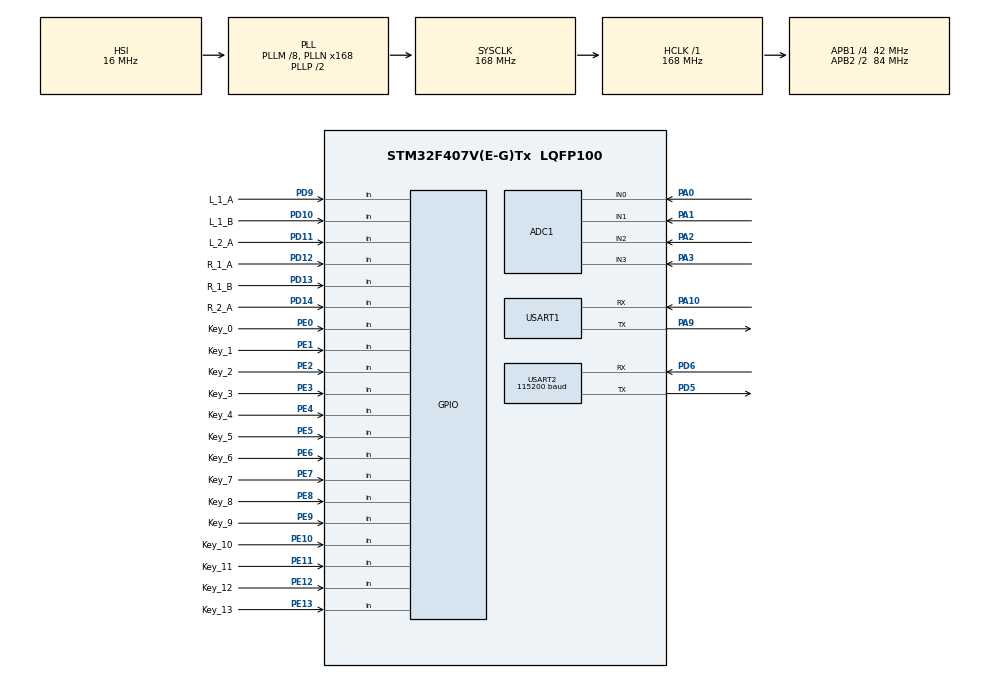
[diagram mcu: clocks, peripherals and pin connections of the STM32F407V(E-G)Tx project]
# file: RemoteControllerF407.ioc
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ADC1.Channel-0\#ChannelRegularConversion=ADC_CHANNEL_0
ADC1.Channel-1\#ChannelRegularConversion=ADC_CHANNEL_1
ADC1.Channel-2\#ChannelRegularConversion=ADC_CHANNEL_2
ADC1.Channel-3\#ChannelRegularConversion=ADC_CHANNEL_3
ADC1.ContinuousConvMode=DISABLE
ADC1.DMAContinuousRequests=ENABLE
ADC1.NbrOfConversion=4
ADC1.NbrOfConversionFlag=1
ADC1.Rank-0\#ChannelRegularConversion=1
ADC1.Rank-1\#ChannelRegularConversion=2
ADC1.Rank-2\#ChannelRegularConversion=3
ADC1.Rank-3\#ChannelRegularConversion=4
ADC1.SamplingTime-0\#ChannelRegularConversion=ADC_SAMPLETIME_15CYCLES
ADC1.SamplingTime-1\#ChannelRegularConversion=ADC_SAMPLETIME_15CYCLES
ADC1.SamplingTime-2\#ChannelRegularConversion=ADC_SAMPLETIME_15CYCLES
ADC1.SamplingTime-3\#ChannelRegularConversion=ADC_SAMPLETIME_15CYCLES
ADC1.master=1
Dma.ADC1.0.Direction=DMA_PERIPH_TO_MEMORY
Dma.ADC1.0.FIFOMode=DMA_FIFOMODE_DISABLE
Dma.ADC1.0.Instance=DMA2_Stream0
Dma.ADC1.0.MemDataAlignment=DMA_MDATAALIGN_HALFWORD
Dma.ADC1.0.MemInc=DMA_MINC_ENABLE
Dma.ADC1.0.Mode=DMA_CIRCULAR
Dma.ADC1.0.PeriphDataAlignment=DMA_PDATAALIGN_HALFWORD
Dma.ADC1.0.PeriphInc=DMA_PINC_DISABLE
Dma.ADC1.0.Priority=DMA_PRIORITY_LOW
Dma.Request0=ADC1
Dma.Request1=USART1_TX
Dma.Request2=USART2_RX
Dma.Request3=USART2_TX
Dma.Request4=USART1_RX
Dma.USART1_RX.4.Direction=DMA_PERIPH_TO_MEMORY
Dma.USART1_RX.4.FIFOMode=DMA_FIFOMODE_DISABLE
Dma.USART1_RX.4.Instance=DMA2_Stream2
Dma.USART1_RX.4.MemDataAlignment=DMA_MDATAALIGN_BYTE
Dma.USART1_RX.4.MemInc=DMA_MINC_ENABLE
Dma.USART1_RX.4.Mode=DMA_NORMAL
Dma.USART1_RX.4.PeriphDataAlignment=DMA_PDATAALIGN_BYTE
Dma.USART1_RX.4.PeriphInc=DMA_PINC_DISABLE
Dma.USART1_RX.4.Priority=DMA_PRIORITY_LOW
Dma.USART1_TX.1.Direction=DMA_MEMORY_TO_PERIPH
Dma.USART1_TX.1.FIFOMode=DMA_FIFOMODE_DISABLE
Dma.USART1_TX.1.Instance=DMA2_Stream7
Dma.USART1_TX.1.MemDataAlignment=DMA_MDATAALIGN_BYTE
Dma.USART1_TX.1.MemInc=DMA_MINC_ENABLE
Dma.USART1_TX.1.Mode=DMA_NORMAL
Dma.USART1_TX.1.PeriphDataAlignment=DMA_PDATAALIGN_BYTE
Dma.USART1_TX.1.PeriphInc=DMA_PINC_DISABLE
Dma.USART1_TX.1.Priority=DMA_PRIORITY_LOW
Dma.USART2_RX.2.Direction=DMA_PERIPH_TO_MEMORY
Dma.USART2_RX.2.FIFOMode=DMA_FIFOMODE_DISABLE
Dma.USART2_RX.2.Instance=DMA1_Stream5
Dma.USART2_RX.2.MemDataAlignment=DMA_MDATAALIGN_BYTE
Dma.USART2_RX.2.MemInc=DMA_MINC_ENABLE
Dma.USART2_RX.2.Mode=DMA_NORMAL
Dma.USART2_RX.2.PeriphDataAlignment=DMA_PDATAALIGN_BYTE
Dma.USART2_RX.2.PeriphInc=DMA_PINC_DISABLE
Dma.USART2_RX.2.Priority=DMA_PRIORITY_LOW
Dma.USART2_TX.3.Direction=DMA_MEMORY_TO_PERIPH
Dma.USART2_TX.3.FIFOMode=DMA_FIFOMODE_DISABLE
Dma.USART2_TX.3.Instance=DMA1_Stream6
Dma.USART2_TX.3.MemDataAlignment=DMA_MDATAALIGN_BYTE
Dma.USART2_TX.3.MemInc=DMA_MINC_ENABLE
Dma.USART2_TX.3.Mode=DMA_NORMAL
Dma.USART2_TX.3.PeriphDataAlignment=DMA_PDATAALIGN_BYTE
Dma.USART2_TX.3.PeriphInc=DMA_PINC_DISABLE
Dma.USART2_TX.3.Priority=DMA_PRIORITY_LOW
FREERTOS.Tasks01=defaultTask,24,128,StartDefaultTask,Default,NULL,Dynamic,NULL,NULL;adc_read,8,128,adc_read_Task,Default,NULL,Dynamic,NULL,NULL;uart_1_send,8,128,uart_1_send_Task,Default,NULL,Dynamic,NULL,NULL
Mcu.Family=STM32F4
Mcu.Name=STM32F407V(E-G)Tx
Mcu.Package=LQFP100
NVIC.DMA1_Stream5_IRQn=true\:5\:0\:false\:false\:true\:true\:false\:true\:true
NVIC.DMA1_Stream6_IRQn=true\:5\:0\:false\:false\:true\:true\:false\:true\:true
NVIC.DMA2_Stream0_IRQn=true\:5\:0\:false\:false\:true\:true\:false\:true\:true
NVIC.DMA2_Stream2_IRQn=true\:5\:0\:false\:false\:true\:true\:false\:true\:true
NVIC.DMA2_Stream7_IRQn=true\:5\:0\:false\:false\:true\:true\:false\:true\:true
NVIC.PriorityGroup=NVIC_PRIORITYGROUP_4
NVIC.TIM6_DAC_IRQn=true\:15\:0\:false\:false\:true\:false\:false\:true\:true
NVIC.TimeBase=TIM6_DAC_IRQn
NVIC.TimeBaseIP=TIM6
NVIC.USART1_IRQn=true\:5\:0\:false\:false\:true\:true\:true\:true\:true
NVIC.USART2_IRQn=true\:5\:0\:false\:false\:true\:true\:true\:true\:true
PA0-WKUP.Signal=ADCx_IN0
PA1.Signal=ADCx_IN1
PA10.Mode=Asynchronous
PA10.Signal=USART1_RX
PA13.Mode=Serial_Wire
PA13.Signal=SYS_JTMS-SWDIO
PA14.Mode=Serial_Wire
PA14.Signal=SYS_JTCK-SWCLK
PA2.Signal=ADCx_IN2
PA3.Signal=ADCx_IN3
PA9.Mode=Asynchronous
PA9.Signal=USART1_TX
PD10.GPIO_Label=L_1_B
PD10.GPIO_PuPd=GPIO_NOPULL
PD10.Signal=GPIO_Input
PD11.GPIO_Label=L_2_A
PD11.GPIO_PuPd=GPIO_NOPULL
PD11.Signal=GPIO_Input
PD12.GPIO_Label=R_1_A
PD12.GPIO_PuPd=GPIO_NOPULL
PD12.Signal=GPIO_Input
PD13.GPIO_Label=R_1_B
PD13.GPIO_PuPd=GPIO_NOPULL
PD13.Signal=GPIO_Input
PD14.GPIO_Label=R_2_A
PD14.GPIO_PuPd=GPIO_NOPULL
PD14.Signal=GPIO_Input
PD5.Mode=Asynchronous
PD5.Signal=USART2_TX
PD6.Mode=Asynchronous
PD6.Signal=USART2_RX
PD9.GPIO_Label=L_1_A
PD9.GPIO_PuPd=GPIO_NOPULL
PD9.Signal=GPIO_Input
PE0.GPIO_Label=Key_0
PE0.Signal=GPIO_Input
PE1.GPIO_Label=Key_1
PE1.Signal=GPIO_Input
PE10.GPIO_Label=Key_10
PE10.Signal=GPIO_Input
PE11.GPIO_Label=Key_11
PE11.Signal=GPIO_Input
PE12.GPIO_Label=Key_12
PE12.Signal=GPIO_Input
PE13.GPIO_Label=Key_13
PE13.Signal=GPIO_Input
PE2.GPIO_Label=Key_2
PE2.Signal=GPIO_Input
PE3.GPIO_Label=Key_3
PE3.Signal=GPIO_Input
PE4.GPIO_Label=Key_4
PE4.Signal=GPIO_Input
PE5.GPIO_Label=Key_5
PE5.Signal=GPIO_Input
PE6.GPIO_Label=Key_6
PE6.Signal=GPIO_Input
PE7.GPIO_Label=Key_7
PE7.Signal=GPIO_Input
PE8.GPIO_Label=Key_8
PE8.Signal=GPIO_Input
PE9.GPIO_Label=Key_9
PE9.Signal=GPIO_Input
PH0-OSC_IN.Mode=HSE-External-Oscillator
PH0-OSC_IN.Signal=RCC_OSC_IN
PH1-OSC_OUT.Mode=HSE-External-Oscillator
PH1-OSC_OUT.Signal=RCC_OSC_OUT
ProjectManager.HeapSize=0x200
ProjectManager.StackSize=0x400
ProjectManager.TargetToolchain=MDK-ARM V5.32
RCC.48MHZClocksFreq_Value=84000000
RCC.AHBFreq_Value=168000000
RCC.APB1CLKDivider=RCC_HCLK_DIV4
RCC.APB1Freq_Value=42000000
RCC.APB1TimFreq_Value=84000000
RCC.APB2CLKDivider=RCC_HCLK_DIV2
RCC.APB2Freq_Value=84000000
RCC.APB2TimFreq_Value=168000000
RCC.CortexFreq_Value=168000000
RCC.HCLKFreq_Value=168000000
RCC.HSE_VALUE=8000000
RCC.HSI_VALUE=16000000
RCC.LSE_VALUE=32768
RCC.PLLM=8
RCC.PLLN=168
RCC.SYSCLKFreq_VALUE=168000000
RCC.SYSCLKSource=RCC_SYSCLKSOURCE_PLLCLK
RCC.VCOOutputFreq_Value=336000000
SH.ADCx_IN0.0=ADC1_IN0,IN0
SH.ADCx_IN1.0=ADC1_IN1,IN1
SH.ADCx_IN2.0=ADC1_IN2,IN2
SH.ADCx_IN3.0=ADC1_IN3,IN3
USART1.VirtualMode=VM_ASYNC
USART2.BaudRate=115200
USART2.VirtualMode=VM_ASYNC
VP_FREERTOS_VS_CMSIS_V2.Mode=CMSIS_V2
VP_SYS_VS_tim6.Mode=TIM6
board=custom

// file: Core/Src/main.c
/* USER CODE BEGIN Header */
/**
  ******************************************************************************
  * @file           : main.c
  * @brief          : Main program body
  ******************************************************************************
  * @attention
  *
  * Copyright (c) 2024 STMicroelectronics.
  * All rights reserved.
  *
  * This software is licensed under terms that can be found in the LICENSE file
  * in the root directory of this software component.
  * If no LICENSE file comes with this software, it is provided AS-IS.
  *
  ******************************************************************************
  */
/* USER CODE END Header */
#include "main.h"
#include "cmsis_os.h"
#include "adc.h"
#include "dma.h"
#include "usart.h"
#include "gpio.h"

/* USER CODE BEGIN Includes */
#include "stm32f4xx_hal_adc.h"
#include "stm32f4xx_hal_dma.h"
#include "string.h"
#include "rmt_stick.h"
#include "dl_ln.h"
#include "std_msg.h"

uint8_t rx_Buffer[32];
uint8_t esp_rx_Buffer[12];
char state_code[4] = {'?', '?', '?', '?'};
DL_LN_Msg my_msg;

int uart_recv_times = 0;
int espuart_recv_times = 0;

float valid_rate = 0.0;
int valid_info = 0;

int32_t SEND_INT = 0;
/* USER CODE END Includes */

/* USER CODE BEGIN PTD */
void HAL_ADC_ConvCpltCallback(ADC_HandleTypeDef* hadc) {
    if (hadc->Instance == ADC1) {
        // 处理ADC DMA完成后的操作
    }
}

/**
 * @details 本机的ZIGBEE ID 为11 45 ，PANID 为 45 22
 *
 */
void HAL_UARTEx_RxEventCallback(UART_HandleTypeDef *huart, uint16_t Size)
{
    if (huart == &huart2)   // 来自底盘的消息：串口2
    {
			uart_recv_times++;    // 计数：收到一次
      DL_LN_decode(rx_Buffer, &my_msg);

      if(my_msg.source_port == DL_LN_REPLY_PORT)    // 如果是返回回来的节点信息，就把节点信息送给ESP32
      {
        uint8_t esp32_sd_buf[12] = {'#', 'n', 0x00, 0x00, 0x00, 0x00, 0x00, 0x00, 0x00, 0x00, 0x00, '#'};
        esp32_sd_buf[2] = my_msg.addr >> 8;
        esp32_sd_buf[3] = my_msg.addr & 0xff;
        memcpy(esp32_sd_buf + 4, my_msg.data, 7);
        HAL_UART_Transmit_DMA(&huart1, esp32_sd_buf, sizeof(esp32_sd_buf));
      }

      memset(rx_Buffer, 0, sizeof(rx_Buffer));
			HAL_UARTEx_ReceiveToIdle_DMA(&huart2, rx_Buffer, sizeof(rx_Buffer));
			HAL_UARTEx_ReceiveToIdle_DMA(&huart1, esp_rx_Buffer, sizeof(esp_rx_Buffer));
    }

    if (huart == &huart1)   // 来自ESP32的消息：串口1
    {
			espuart_recv_times++;

      switch (esp_rx_Buffer[0])
      {
        case 'm':    // 说明是 状态码消息，给ESP32反馈回去
        {
          memcpy(state_code, esp_rx_Buffer + 1, 3);
					uint8_t state_reply_buf[4];

					memcpy(state_reply_buf, esp_rx_Buffer, 4);
					HAL_UART_Transmit_DMA(&huart1, state_reply_buf, sizeof(state_reply_buf));
          break;
        }
        case 1:    // 说明是 摇杆校准 消息
        {
          rmt_decode_joystick_msg(&My_js_origins, esp_rx_Buffer, esp_rx_Buffer[1]);
          break;
        }

      default:
        break;
      }

      memset(esp_rx_Buffer, 0, sizeof(esp_rx_Buffer));
			HAL_UARTEx_ReceiveToIdle_DMA(&huart1, esp_rx_Buffer, sizeof(esp_rx_Buffer));
			HAL_UARTEx_ReceiveToIdle_DMA(&huart2, rx_Buffer, sizeof(rx_Buffer));
    }
}
/* USER CODE END PTD */

void SystemClock_Config(void);
void MX_FREERTOS_Init(void);

int main(void)
{

  /* MCU Configuration--------------------------------------------------------*/

  /* Reset of all peripherals, Initializes the Flash interface and the Systick. */
  HAL_Init();

  /* Configure the system clock */
  SystemClock_Config();

  /* Initialize all configured peripherals */
  MX_GPIO_Init();
  MX_DMA_Init();
  MX_ADC1_Init();
  MX_USART1_UART_Init();
  MX_USART2_UART_Init();
  /* USER CODE BEGIN 2 */

  HAL_UARTEx_ReceiveToIdle_DMA(&huart2, rx_Buffer, sizeof(rx_Buffer));
  HAL_UARTEx_ReceiveToIdle_DMA(&huart1, esp_rx_Buffer, sizeof(esp_rx_Buffer));

  __HAL_DMA_DISABLE_IT(&hdma_usart1_rx,DMA_IT_HT); 		//	关闭DMA传输过半中断
  __HAL_DMA_DISABLE_IT(&hdma_usart2_rx,DMA_IT_HT); 		//	关闭DMA传输过半中断

//  DL_LN_set(&huart2, &huart2, BPS, 230400, 0);
//  DL_LN_read(&huart2, 0x04);
//  DL_LN_restart(&huart2);

	// HAL_ADC_Start_DMA(&hadc1, (uint32_t*)ADC_Value, 2);

  /* USER CODE END 2 */

  /* Init scheduler */
  osKernelInitialize();

  /* Call init function for freertos objects (in cmsis_os2.c) */
  MX_FREERTOS_Init();

  /* Start scheduler */
  osKernelStart();

  /* We should never get here as control is now taken by the scheduler */

  /* Infinite loop */
  /* USER CODE BEGIN WHILE */
  while (1)
  {
    // HAL_Delay(20);    // 每秒上报50次
    /* USER CODE END WHILE */

  }
}

void SystemClock_Config(void)
{
  RCC_OscInitTypeDef RCC_OscInitStruct = {0};
  RCC_ClkInitTypeDef RCC_ClkInitStruct = {0};

  /** Configure the main internal regulator output voltage
  */
  __HAL_RCC_PWR_CLK_ENABLE();
  __HAL_PWR_VOLTAGESCALING_CONFIG(PWR_REGULATOR_VOLTAGE_SCALE1);

  /** Initializes the RCC Oscillators according to the specified parameters
  * in the RCC_OscInitTypeDef structure.
  */
  RCC_OscInitStruct.OscillatorType = RCC_OSCILLATORTYPE_HSI;
  RCC_OscInitStruct.HSIState = RCC_HSI_ON;
  RCC_OscInitStruct.HSICalibrationValue = RCC_HSICALIBRATION_DEFAULT;
  RCC_OscInitStruct.PLL.PLLState = RCC_PLL_ON;
  RCC_OscInitStruct.PLL.PLLSource = RCC_PLLSOURCE_HSI;
  RCC_OscInitStruct.PLL.PLLM = 8;
  RCC_OscInitStruct.PLL.PLLN = 168;
  RCC_OscInitStruct.PLL.PLLP = RCC_PLLP_DIV2;
  RCC_OscInitStruct.PLL.PLLQ = 4;
  if (HAL_RCC_OscConfig(&RCC_OscInitStruct) != HAL_OK)
  {
    Error_Handler();
  }

  /** Initializes the CPU, AHB and APB buses clocks
  */
  RCC_ClkInitStruct.ClockType = RCC_CLOCKTYPE_HCLK|RCC_CLOCKTYPE_SYSCLK
                              |RCC_CLOCKTYPE_PCLK1|RCC_CLOCKTYPE_PCLK2;
  RCC_ClkInitStruct.SYSCLKSource = RCC_SYSCLKSOURCE_PLLCLK;
  RCC_ClkInitStruct.AHBCLKDivider = RCC_SYSCLK_DIV1;
  RCC_ClkInitStruct.APB1CLKDivider = RCC_HCLK_DIV4;
  RCC_ClkInitStruct.APB2CLKDivider = RCC_HCLK_DIV2;

  if (HAL_RCC_ClockConfig(&RCC_ClkInitStruct, FLASH_LATENCY_5) != HAL_OK)
  {
    Error_Handler();
  }
}

void HAL_TIM_PeriodElapsedCallback(TIM_HandleTypeDef *htim)
{
  if (htim->Instance == TIM6) {
    HAL_IncTick();
  }
}

void Error_Handler(void)
{
  __disable_irq();
  while (1)
  {
  }
}

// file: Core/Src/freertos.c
/* USER CODE BEGIN Header */
/**
 ******************************************************************************
 * File Name          : freertos.c
 * Description        : Code for freertos applications
 ******************************************************************************
 * @attention
 *
 * Copyright (c) 2024 STMicroelectronics.
 * All rights reserved.
 *
 * This software is licensed under terms that can be found in the LICENSE file
 * in the root directory of this software component.
 * If no LICENSE file comes with this software, it is provided AS-IS.
 *
 ******************************************************************************
 */
/* USER CODE END Header */

#include "FreeRTOS.h"
#include "task.h"
#include "main.h"
#include "cmsis_os.h"

/* USER CODE BEGIN Includes */
#include "usart.h"
#include "adc.h"
#include "rmt_stick.h"
#include "dl_ln.h"
#include "algorithm.h"

uint8_t arrayToByte(uint8_t keys[8]);

#define Lef_Down_But 10
#define Rig_Down_But 13

#define Lef_Up_But 0
#define Rig_Up_But 2

#define L_2 14
#define L_1_A 15
#define L_1_B 16

#define R_2 17
#define R_1_A 18
#define R_1_B 19

char JsSends_datas[20] = {0};

int rmt_delay_time = 0;
int targ_connect_addr = 0xaaaa;   // 自己要连接的目标地址

// j 代表摇杆数据
#define R1_ZIGBEE_ADDR 0x1202

uint8_t esp32_send_buf[16] = {'#', 'j', 0x08, 0x00, 0x07, 0x00, 0x06, 0x00, 0x05, 0x00, 0xFF, 0x00, 0x00, 0x00, 0x00, '#'};
const uint8_t no_pure_buf[12] = {'#', 'd', 'e', 'b', 'u', 'g', '#'};
uint16_t ADC_Value[4] = {0};
uint16_t ADC_Value_Filtered[4] = {0};
float filter_rate = 0.20;
uint8_t Keys[24];

int uart_send_times = 0;
uint8_t can_send_flag = 0;
/* USER CODE END Includes */

/* USER CODE BEGIN PTD */
void send_JS_dma();
/* USER CODE END PTD */

/* Definitions for defaultTask */
osThreadId_t defaultTaskHandle;
const osThreadAttr_t defaultTask_attributes = {
  .name = "defaultTask",
  .stack_size = 128 * 4,
  .priority = (osPriority_t) osPriorityNormal,
};
/* Definitions for adc_read */
osThreadId_t adc_readHandle;
const osThreadAttr_t adc_read_attributes = {
  .name = "adc_read",
  .stack_size = 128 * 4,
  .priority = (osPriority_t) osPriorityLow,
};
/* Definitions for uart_1_send */
osThreadId_t uart_1_sendHandle;
const osThreadAttr_t uart_1_send_attributes = {
  .name = "uart_1_send",
  .stack_size = 128 * 4,
  .priority = (osPriority_t) osPriorityLow,
};

void StartDefaultTask(void *argument);
void adc_read_Task(void *argument);
void uart_1_send_Task(void *argument);

void MX_FREERTOS_Init(void); /* (MISRA C 2004 rule 8.1) */

void MX_FREERTOS_Init(void) {

  /* Create the thread(s) */
  /* creation of defaultTask */
  defaultTaskHandle = osThreadNew(StartDefaultTask, NULL, &defaultTask_attributes);

  /* creation of adc_read */
  adc_readHandle = osThreadNew(adc_read_Task, NULL, &adc_read_attributes);

  /* creation of uart_1_send */
  uart_1_sendHandle = osThreadNew(uart_1_send_Task, NULL, &uart_1_send_attributes);

}

void StartDefaultTask(void *argument)
{
  /* USER CODE BEGIN StartDefaultTask */

  /* Infinite loop */
  for (;;)
  {

    // My_joystick.signal_delay_ms_temp++;
    osDelay(500);
  }
  /* USER CODE END StartDefaultTask */
}

/* USER CODE BEGIN Header_adc_read_Task */
/**
 * @name adc_read_Task
 * @brief 读取ADC，各种按钮的值，并处理他们
 * @details 这些值会在这里被 发送到ESP32 以及被装进数组，在另一个进程中 被发送到ZIGBEE
 */
/* USER CODE END Header_adc_read_Task */
void adc_read_Task(void *argument)
{
  /* USER CODE BEGIN adc_read_Task */

  /* Infinite loop */
  for (;;)
  {
    /*******************    读取按钮和摇杆    **********************/
    HAL_ADC_Start_DMA(&hadc1, (uint32_t *)ADC_Value, 4);
    Keys[Lef_Up_But] = HAL_GPIO_ReadPin(Key_0_GPIO_Port, Key_0_Pin);
    Keys[Rig_Up_But] = HAL_GPIO_ReadPin(Key_1_GPIO_Port, Key_1_Pin);

    Keys[2] = HAL_GPIO_ReadPin(Key_2_GPIO_Port, Key_2_Pin);
    Keys[3] = HAL_GPIO_ReadPin(Key_3_GPIO_Port, Key_3_Pin);
    Keys[4] = HAL_GPIO_ReadPin(Key_4_GPIO_Port, Key_4_Pin);
    Keys[5] = HAL_GPIO_ReadPin(Key_5_GPIO_Port, Key_5_Pin);
    Keys[6] = HAL_GPIO_ReadPin(Key_6_GPIO_Port, Key_6_Pin);
    Keys[7] = HAL_GPIO_ReadPin(Key_7_GPIO_Port, Key_7_Pin);
    Keys[8] = HAL_GPIO_ReadPin(Key_8_GPIO_Port, Key_8_Pin);
    Keys[9] = HAL_GPIO_ReadPin(Key_9_GPIO_Port, Key_9_Pin);
    Keys[Lef_Down_But] = HAL_GPIO_ReadPin(Key_10_GPIO_Port, Key_10_Pin);
    Keys[11] = HAL_GPIO_ReadPin(Key_11_GPIO_Port, Key_11_Pin);
    Keys[12] = HAL_GPIO_ReadPin(Key_12_GPIO_Port, Key_12_Pin);
    Keys[Rig_Down_But] = HAL_GPIO_ReadPin(Key_13_GPIO_Port, Key_13_Pin);

    /*****************    读取拨杆    ***************/
    Keys[L_1_A] = HAL_GPIO_ReadPin(L_1_A_GPIO_Port, L_1_A_Pin);
    Keys[L_1_B] = HAL_GPIO_ReadPin(L_1_B_GPIO_Port, L_1_B_Pin);
    Keys[L_2] = HAL_GPIO_ReadPin(L_2_A_GPIO_Port, L_2_A_Pin);

    Keys[R_1_A] = HAL_GPIO_ReadPin(R_1_A_GPIO_Port, R_1_A_Pin);
    Keys[R_1_B] = HAL_GPIO_ReadPin(R_1_B_GPIO_Port, R_1_B_Pin);
    Keys[R_2] = HAL_GPIO_ReadPin(R_2_A_GPIO_Port, R_2_A_Pin);

    osDelay(5);

    ADC_Value_Filtered[0] = ADC_Value_Filtered[0] + (ADC_Value[0] - ADC_Value_Filtered[0]) * filter_rate;
    ADC_Value_Filtered[1] = ADC_Value_Filtered[1] + (ADC_Value[1] - ADC_Value_Filtered[1]) * filter_rate;
    ADC_Value_Filtered[2] = ADC_Value_Filtered[2] + (ADC_Value[2] - ADC_Value_Filtered[2]) * filter_rate;
    ADC_Value_Filtered[3] = ADC_Value_Filtered[3] + (ADC_Value[3] - ADC_Value_Filtered[3]) * filter_rate;

    if (rmt_Has_origins)
    {
      My_joystick.left_stick_x = ADC_Value_Filtered[L_x_adc_Channel] - My_js_origins.left_stick_x_mid;
      My_joystick.left_stick_y = ADC_Value_Filtered[L_y_adc_Channel] - My_js_origins.left_stick_y_mid;

      My_joystick.right_stick_x = ADC_Value_Filtered[R_x_adc_Channel] - My_js_origins.right_stick_x_mid;
      My_joystick.right_stick_y = ADC_Value_Filtered[R_y_adc_Channel] - My_js_origins.right_stick_y_mid;

    }
    else
    {
      My_joystick.left_stick_x = ADC_Value_Filtered[L_x_adc_Channel] - 2048;
      My_joystick.left_stick_y = ADC_Value_Filtered[L_y_adc_Channel] - 2048;

      My_joystick.right_stick_x = ADC_Value_Filtered[R_x_adc_Channel] - 2048;
      My_joystick.right_stick_y = ADC_Value_Filtered[R_y_adc_Channel] - 2048;
    }
    rmt_Reverse(&My_joystick);

    My_joystick.L_But = Keys[Lef_Up_But];
    My_joystick.R_But = Keys[Rig_Up_But];

    Vec2 right_ = {My_joystick.right_stick_x, My_joystick.right_stick_y};

    rmt_Joystick_GetPercent(&My_joystick);
    rmt_Joystick_Reflect(&My_joystick);
    can_send_flag = 0;
    // rmt_load_JsBuffer(JsSends_datas, My_joystick);
    rmt_load_JsBuffer_addr(JsSends_datas, My_joystick, R1_ZIGBEE_ADDR);
    can_send_flag = 1;

    // LX
    esp32_send_buf[2] = ADC_Value_Filtered[L_x_adc_Channel] >> 8;
    esp32_send_buf[3] = ADC_Value_Filtered[L_x_adc_Channel] & 0xff;
    // LY
    esp32_send_buf[4] = ADC_Value_Filtered[L_y_adc_Channel] >> 8;
    esp32_send_buf[5] = ADC_Value_Filtered[L_y_adc_Channel] & 0xff;
    // RX
    esp32_send_buf[6] = ADC_Value_Filtered[R_x_adc_Channel] >> 8;
    esp32_send_buf[7] = ADC_Value_Filtered[R_x_adc_Channel] & 0xff;

    // RY
    esp32_send_buf[8] = ADC_Value_Filtered[R_y_adc_Channel] >> 8;
    esp32_send_buf[9] = ADC_Value_Filtered[R_y_adc_Channel] & 0xff;

    // 每八个按钮变为一个字节
    uint8_t Keys_byte_0, Keys_byte_1, Keys_byte_2;
    Keys_byte_0 = arrayToByte(Keys);
    Keys_byte_1 = arrayToByte(Keys + 8);
    Keys_byte_2 = arrayToByte(Keys + 16);

    esp32_send_buf[10] = Keys_byte_0;
    esp32_send_buf[11] = Keys_byte_1;
    esp32_send_buf[12] = Keys_byte_2;
    esp32_send_buf[13] = Keys_byte_0 ^ Keys_byte_1 ^ Keys_byte_2;   // 异或校验位

    if (Keys[Lef_Down_But] == 1 && Keys[Rig_Down_But] == 1 && rmt_check_rmts_status(state_code, RMTS_UNINIT))
    {
      HAL_UART_Transmit_DMA(&huart1, no_pure_buf, sizeof(no_pure_buf));
    }
    else
    {
      HAL_UART_Transmit_DMA(&huart1, esp32_send_buf, sizeof(esp32_send_buf));
    }

    osDelay(15);
  }
  /* USER CODE END adc_read_Task */
}

/* USER CODE BEGIN Header_uart_1_send_Task */
/**
 * @name uart_1_send_Task 串口一发送任务
 * @brief 串口一（发送到远端的串口）的各种任务
 * @details 在发送之前，需要验证状态。如果还没有连接，就需要寻找节点连接；如果已经连接了，进入RMTCTRL模式时，才能遥控
 */
/* USER CODE END Header_uart_1_send_Task */
void uart_1_send_Task(void *argument)
{
  /* USER CODE BEGIN uart_1_send_Task */
  /* Infinite loop */
  for (;;)
  {

    // 首先验证状态是否正确
    if (rmt_check_rmts_status(state_code, RMTS_CONTROL) && can_send_flag)
    {
      send_JS_dma();
			uart_send_times++;
      can_send_flag = 0;
			osDelay(10);
		}

    // 频率 125Hz（之后会可变）
			osDelay(10);
  }
  /* USER CODE END uart_1_send_Task */
}

/* USER CODE BEGIN Application */
void send_JS_dma()
{
  HAL_UART_Transmit_DMA(&huart2, (uint8_t *)JsSends_datas, sizeof(JsSends_datas));
}

// 函数用于将 uint8_t 数组转换为一个字节
uint8_t arrayToByte(uint8_t keys[8])
{
  uint8_t result = 0;
  for (int i = 0; i < 8; i++) {
      if (keys[i]) {
          result |= (1 << i);
      }
  }
  return result;
}
/* USER CODE END Application */
